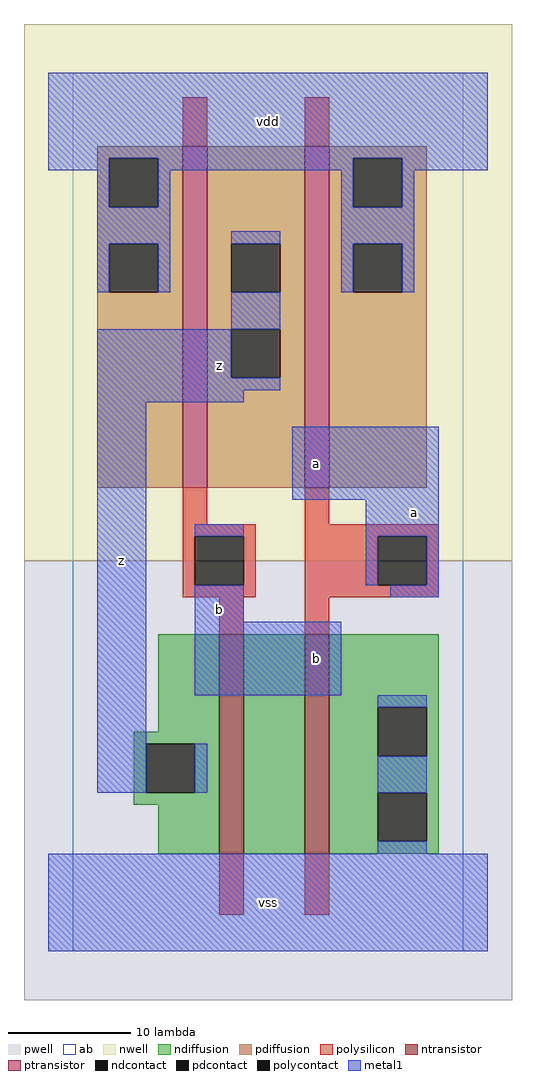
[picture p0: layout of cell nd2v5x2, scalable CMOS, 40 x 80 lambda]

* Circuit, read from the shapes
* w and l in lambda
.subckt nd2v5x2 a b vdd vss z
M1 n1 b z VSUBS nfet w=18 l=2
M2 vss a n1 VSUBS nfet w=18 l=2
M3 z b vdd n2 pfet w=28 l=2
M4 vdd a z n2 pfet w=28 l=2
.ends

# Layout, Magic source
magic
tech scmos
<< ab >>
rect 0 0 32 72
<< pwell >>
rect -4 -4 36 32
<< nwell >>
rect -4 32 36 76
<< polysilicon >>
rect 9 66 11 70
rect 19 66 21 70
rect 9 35 11 38
rect 19 35 21 38
rect 9 34 15 35
rect 9 30 10 34
rect 14 30 15 34
rect 9 29 15 30
rect 19 34 30 35
rect 19 30 25 34
rect 29 30 30 34
rect 19 29 30 30
rect 12 26 14 29
rect 19 26 21 29
rect 12 3 14 8
rect 19 3 21 8
<< ndiffusion >>
rect 7 18 12 26
rect 5 17 12 18
rect 5 13 6 17
rect 10 13 12 17
rect 5 12 12 13
rect 7 8 12 12
rect 14 8 19 26
rect 21 20 30 26
rect 21 16 25 20
rect 29 16 30 20
rect 21 13 30 16
rect 21 9 25 13
rect 29 9 30 13
rect 21 8 30 9
<< pdiffusion >>
rect 2 65 9 66
rect 2 61 3 65
rect 7 61 9 65
rect 2 58 9 61
rect 2 54 3 58
rect 7 54 9 58
rect 2 38 9 54
rect 11 58 19 66
rect 11 54 13 58
rect 17 54 19 58
rect 11 51 19 54
rect 11 47 13 51
rect 17 47 19 51
rect 11 38 19 47
rect 21 65 29 66
rect 21 61 23 65
rect 27 61 29 65
rect 21 58 29 61
rect 21 54 23 58
rect 27 54 29 58
rect 21 38 29 54
<< metal1 >>
rect -2 65 34 72
rect -2 64 3 65
rect 2 61 3 64
rect 7 64 23 65
rect 7 61 8 64
rect 2 58 8 61
rect 22 61 23 64
rect 27 64 34 65
rect 27 61 28 64
rect 2 54 3 58
rect 7 54 8 58
rect 13 58 17 59
rect 22 58 28 61
rect 22 54 23 58
rect 27 54 28 58
rect 13 51 17 54
rect 2 47 13 51
rect 2 46 17 47
rect 2 45 14 46
rect 2 13 6 45
rect 18 37 30 43
rect 10 34 14 35
rect 24 34 30 37
rect 24 30 25 34
rect 29 30 30 34
rect 10 27 14 30
rect 26 29 30 30
rect 10 21 22 27
rect 25 20 29 21
rect 10 13 11 17
rect 25 13 29 16
rect 25 8 29 9
rect -2 0 34 8
<< ntransistor >>
rect 12 8 14 26
rect 19 8 21 26
<< ptransistor >>
rect 9 38 11 66
rect 19 38 21 66
<< polycontact >>
rect 10 30 14 34
rect 25 30 29 34
<< ndcontact >>
rect 6 13 10 17
rect 25 16 29 20
rect 25 9 29 13
<< pdcontact >>
rect 3 61 7 65
rect 3 54 7 58
rect 13 54 17 58
rect 13 47 17 51
rect 23 61 27 65
rect 23 54 27 58
<< labels >>
rlabel metal1 4 32 4 32 6 z
rlabel metal1 12 28 12 28 6 b
rlabel metal1 12 48 12 48 6 z
rlabel metal1 16 4 16 4 6 vss
rlabel metal1 20 24 20 24 6 b
rlabel metal1 20 40 20 40 6 a
rlabel metal1 16 68 16 68 6 vdd
rlabel metal1 28 36 28 36 6 a
<< end >>
